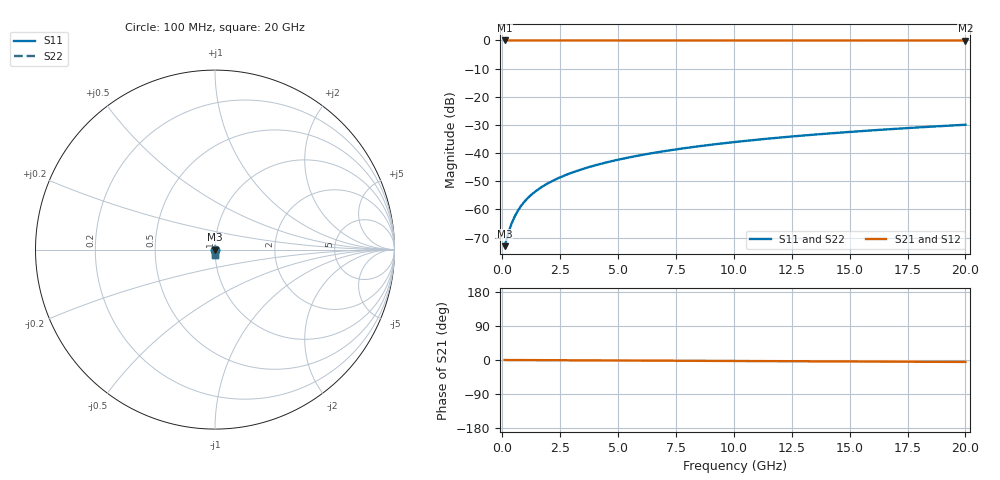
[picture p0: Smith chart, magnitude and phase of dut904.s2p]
! Touchstone file exported from HFSS 2026.1.0
!  File:  C:/ffzhzh/LocalFiles/Ansys_Project_Files/temp_train_TSV_904_1783186205_55132.aedt
!  Generated:  01:31:39 AM Jul  5, 2026
!  Design:  TSV
!  Project:  temp_train_TSV_904_1783186205_55132
! Variables:
!  h_bsmrdl = 2um
!  h_ox = 20um
!  h_rdl = 5um
!  h_sub = 50.43um
!  h_tmrdl = 5um
!  h_tsv = 50.43um
!  h_via = 3um
!  l_bsmrdl = 300um
!  l_sub = 412.52um
!  l_tmrdl = 200um
!  m_sub = 200um
!  pitch = 18.26um
!  r_tsv = 6.26um
!  s_tmrdl = 10um
!  w_bsmrdl = 18um
!  w_sub = 500um
!  w_tmrdl = 12um
!  x_tsv_center1 = 206um
!  x_tsv_center2 = 524um
!  x_tsv_center3 = 736um
!  x_tsv_center4 = 1054um
!  x_tsv_center5 = 1266um
!  x_tsv_center6 = 1584um
# GHz S MA R 50.000000
! Terminal data exported
! Port[1] = TSV1_1_T1
! Port[2] = TSV1_1_T2
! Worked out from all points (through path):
!   200 points, 100 MHz to 20 GHz, reference 50 ohm
!   highest |S21| = 0.00 dB at 100 MHz (marker M1); lowest = 0.0 dB at 20 GHz (marker M2)
!   lowest |S11| = -73.1 dB at 100 MHz (marker M3), VSWR 1.00, Z = 50 - j0.011 ohm
!   |S11| at or under -10 dB: start of sweep to end of sweep
!   |S22| runs from -73.1 to -29.9 dB; largest |S21 - S12| = 4e-15
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0.1  0.0002225 -29.5  0.9998 -0.0  0.9998 -0.0  0.0002225 -29.5
! Gamma 0 0 0 0
! Port Impedance 50 0 50 0
0.3  0.0004265 -56.0  0.9998 -0.1  0.9998 -0.1  0.0004265 -56.0
0.4  0.0005573 -61.7  0.9997 -0.1  0.9997 -0.1  0.0005573 -61.7
0.5  0.0006968 -65.6  0.9997 -0.1  0.9997 -0.1  0.0006968 -65.6
0.6  0.0008414 -68.5  0.9997 -0.2  0.9997 -0.2  0.0008414 -68.5
0.8  0.001138 -72.7  0.9997 -0.2  0.9997 -0.2  0.001138 -72.7
0.9  0.001287 -74.2  0.9996 -0.2  0.9996 -0.2  0.001287 -74.2
1.1  0.001588 -76.5  0.9996 -0.3  0.9996 -0.3  0.001588 -76.5
1.3  0.00189 -78.2  0.9996 -0.3  0.9996 -0.3  0.00189 -78.2
1.5  0.002192 -79.5  0.9996 -0.4  0.9996 -0.4  0.002192 -79.5
1.8  0.002647 -80.9  0.9996 -0.5  0.9996 -0.5  0.002647 -80.9
2.1  0.003104 -81.9  0.9995 -0.6  0.9995 -0.6  0.003104 -81.9
2.7  0.004023 -83.3  0.9995 -0.7  0.9995 -0.7  0.004023 -83.3
3.5  0.005263 -84.5  0.9994 -0.9  0.9994 -0.9  0.005263 -84.5
4.2  0.006361 -85.2  0.9993 -1.1  0.9993 -1.1  0.006361 -85.2
5  0.007628 -85.9  0.9992 -1.3  0.9992 -1.3  0.007628 -85.9
6.8  0.01051 -87.1  0.9991 -1.8  0.9991 -1.8  0.01051 -87.1
8.3  0.01292 -87.9  0.999 -2.2  0.999 -2.2  0.01292 -87.9
10.1  0.01583 -88.8  0.9988 -2.6  0.9988 -2.6  0.01583 -88.8
13.4  0.02117 -90.2  0.9986 -3.5  0.9986 -3.5  0.02117 -90.2
16.7  0.02652 -91.4  0.9983 -4.3  0.9983 -4.3  0.02652 -91.4
20  0.03189 -92.5  0.998 -5.1  0.998 -5.1  0.03189 -92.5
